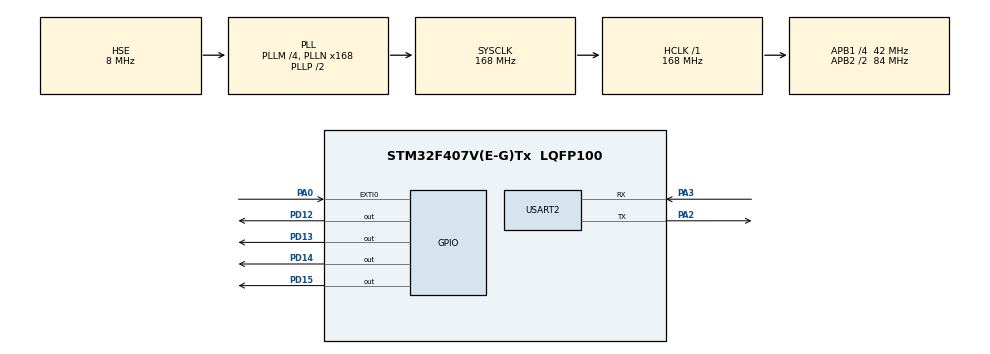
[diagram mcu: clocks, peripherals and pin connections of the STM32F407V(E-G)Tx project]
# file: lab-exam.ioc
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FREERTOS.INCLUDE_vTaskDelayUntil=1
FREERTOS.Tasks01=defaultTask,-3,128,StartDefaultTask,Default,NULL,Dynamic,NULL,NULL
FREERTOS.configUSE_NEWLIB_REENTRANT=1
Mcu.Family=STM32F4
Mcu.Name=STM32F407V(E-G)Tx
Mcu.Package=LQFP100
NVIC.EXTI0_IRQn=true\:5\:0\:false\:false\:true\:true\:true\:true\:true
NVIC.PriorityGroup=NVIC_PRIORITYGROUP_4
NVIC.TIM1_UP_TIM10_IRQn=true\:15\:0\:false\:false\:true\:false\:false\:true\:true
NVIC.TimeBase=TIM1_UP_TIM10_IRQn
NVIC.TimeBaseIP=TIM1
PA0-WKUP.GPIO_ModeDefaultEXTI=GPIO_MODE_IT_FALLING
PA0-WKUP.Signal=GPXTI0
PA2.Mode=Asynchronous
PA2.Signal=USART2_TX
PA3.Mode=Asynchronous
PA3.Signal=USART2_RX
PD12.Signal=GPIO_Output
PD13.Signal=GPIO_Output
PD14.Signal=GPIO_Output
PD15.Signal=GPIO_Output
PH0-OSC_IN.Mode=HSE-External-Oscillator
PH0-OSC_IN.Signal=RCC_OSC_IN
PH1-OSC_OUT.Mode=HSE-External-Oscillator
PH1-OSC_OUT.Signal=RCC_OSC_OUT
ProjectManager.HeapSize=0x200
ProjectManager.StackSize=0x400
ProjectManager.TargetToolchain=STM32CubeIDE
RCC.48MHZClocksFreq_Value=48000000
RCC.AHBFreq_Value=168000000
RCC.APB1CLKDivider=RCC_HCLK_DIV4
RCC.APB1Freq_Value=42000000
RCC.APB1TimFreq_Value=84000000
RCC.APB2CLKDivider=RCC_HCLK_DIV2
RCC.APB2Freq_Value=84000000
RCC.APB2TimFreq_Value=168000000
RCC.CortexFreq_Value=168000000
RCC.HCLKFreq_Value=168000000
RCC.HSE_VALUE=8000000
RCC.HSI_VALUE=16000000
RCC.LSE_VALUE=32768
RCC.PLLM=4
RCC.PLLN=168
RCC.PLLQ=7
RCC.PLLSourceVirtual=RCC_PLLSOURCE_HSE
RCC.SYSCLKFreq_VALUE=168000000
RCC.SYSCLKSource=RCC_SYSCLKSOURCE_PLLCLK
RCC.VCOOutputFreq_Value=336000000
RTC.Date=3
RTC.Hours=11
RTC.Minutes=59
RTC.Month=RTC_MONTH_AUGUST
RTC.Seconds=50
RTC.WeekDay=RTC_WEEKDAY_WEDNESDAY
USART2.VirtualMode=VM_ASYNC
VP_FREERTOS_VS_CMSIS_V1.Mode=CMSIS_V1
VP_RTC_VS_RTC_Activate.Mode=RTC_Enabled
VP_RTC_VS_RTC_Calendar.Mode=RTC_Calendar
VP_SYS_VS_tim1.Mode=TIM1
board=STM32F407G-DISC1

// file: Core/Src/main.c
/* USER CODE BEGIN Header */
/**
 ******************************************************************************
 * @file           : main.c
 * @brief          : Main program body
 ******************************************************************************
 * @attention
 *
 * Copyright (c) 2022 STMicroelectronics.
 * All rights reserved.
 *
 * This software is licensed under terms that can be found in the LICENSE file
 * in the root directory of this software component.
 * If no LICENSE file comes with this software, it is provided AS-IS.
 *
 ******************************************************************************
 */
/* USER CODE END Header */
#include "main.h"
#include "cmsis_os.h"

/* USER CODE BEGIN Includes */
#include<stdio.h>
/* USER CODE END Includes */

RTC_HandleTypeDef hrtc;

UART_HandleTypeDef huart2;

osThreadId defaultTaskHandle;
/* USER CODE BEGIN PV */
volatile SemaphoreHandle_t xSwitchSemaFlag;
/* USER CODE END PV */

void SystemClock_Config(void);
static void MX_GPIO_Init(void);
static void MX_RTC_Init(void);
static void MX_USART2_UART_Init(void);
void StartDefaultTask(void const * argument);

/* USER CODE BEGIN 0 */
void vLedBlinkAPeriodic(void *pvParam) {

	while(1) {
		vTaskDelay(200 / portTICK_RATE_MS);
		HAL_GPIO_TogglePin(GPIOD, GPIO_PIN_12);
		vTaskDelay(200 / portTICK_RATE_MS);
		HAL_GPIO_TogglePin(GPIOD, GPIO_PIN_13);
		vTaskDelay(200 / portTICK_RATE_MS);
		HAL_GPIO_TogglePin(GPIOD, GPIO_PIN_14);
		vTaskDelay(200 / portTICK_RATE_MS);
		HAL_GPIO_TogglePin(GPIOD, GPIO_PIN_15);

		vTaskDelay(200 / portTICK_RATE_MS);
		HAL_GPIO_TogglePin(GPIOD, GPIO_PIN_12);
		HAL_GPIO_TogglePin(GPIOD, GPIO_PIN_13);
		HAL_GPIO_TogglePin(GPIOD, GPIO_PIN_14);
		HAL_GPIO_TogglePin(GPIOD, GPIO_PIN_15);
	}
	vTaskDelete(NULL);
}

void HAL_GPIO_EXTI_Callback(uint16_t GPIO_Pin) {
	BaseType_t xHigherPriorityTaskWoken;
	// V(xSwitchSemaFlag);
	xSemaphoreGiveFromISR(xSwitchSemaFlag, &xHigherPriorityTaskWoken);
	// Invoke the scheduler
	portEND_SWITCHING_ISR(xHigherPriorityTaskWoken);
}

void vSwitchIntrHandler(void *pvParam) {
	// P(xSwitchSemaFlag);
	xSemaphoreTake(xSwitchSemaFlag, 0);
	uint8_t len;
	char data[50];

	RTC_DateTypeDef date;
	RTC_TimeTypeDef time;
	while(1) {
		// P(xSwitchSemaFlag);
		xSemaphoreTake(xSwitchSemaFlag, portMAX_DELAY);
		HAL_RTC_GetTime(&hrtc, &time, RTC_FORMAT_BIN);
		HAL_RTC_GetDate(&hrtc, &date, RTC_FORMAT_BIN);

		len = sprintf(data, "E3: Rohit Nimkar - %2d-%2d-%4d %2d:%2d:%2d\r\n", date.Date, date.Month,
				date.Year + 2022U, time.Hours, time.Minutes, time.Seconds);

		HAL_UART_Transmit(&huart2, (uint8_t *)data, len, HAL_MAX_DELAY);
	}
	vTaskDelete(NULL);
}
/* USER CODE END 0 */

int main(void)
{
  /* USER CODE BEGIN 1 */
	BaseType_t xRet;
  /* USER CODE END 1 */

  /* MCU Configuration--------------------------------------------------------*/

  /* Reset of all peripherals, Initializes the Flash interface and the Systick. */
  HAL_Init();

  /* Configure the system clock */
  SystemClock_Config();

  /* Initialize all configured peripherals */
  MX_GPIO_Init();
  MX_RTC_Init();
  MX_USART2_UART_Init();

  /* USER CODE BEGIN RTOS_SEMAPHORES */
  xSwitchSemaFlag = xSemaphoreCreateBinary();
  /* USER CODE END RTOS_SEMAPHORES */

  /* Create the thread(s) */
  /* definition and creation of defaultTask */
  osThreadDef(defaultTask, StartDefaultTask, osPriorityIdle, 0, 128);
  defaultTaskHandle = osThreadCreate(osThread(defaultTask), NULL);

  /* USER CODE BEGIN RTOS_THREADS */
  xRet = xTaskCreate(vLedBlinkAPeriodic, "blink", 128, NULL, 2, NULL);
  if(xRet != pdTRUE)
	  Error_Handler();

  xRet = xTaskCreate(vSwitchIntrHandler, "int_handle", 128, NULL, configMAX_PRIORITIES-1, NULL);
  if(xRet != pdTRUE)
	  Error_Handler();
  /* USER CODE END RTOS_THREADS */

  /* Start scheduler */
  osKernelStart();

  /* We should never get here as control is now taken by the scheduler */
  /* Infinite loop */
  /* USER CODE BEGIN WHILE */
  vSemaphoreDelete(xSwitchSemaFlag);
	while (1)
	{

    /* USER CODE END WHILE */

	}
}

void SystemClock_Config(void)
{
  RCC_OscInitTypeDef RCC_OscInitStruct = {0};
  RCC_ClkInitTypeDef RCC_ClkInitStruct = {0};

  /** Configure the main internal regulator output voltage
  */
  __HAL_RCC_PWR_CLK_ENABLE();
  __HAL_PWR_VOLTAGESCALING_CONFIG(PWR_REGULATOR_VOLTAGE_SCALE1);

  /** Initializes the RCC Oscillators according to the specified parameters
  * in the RCC_OscInitTypeDef structure.
  */
  RCC_OscInitStruct.OscillatorType = RCC_OSCILLATORTYPE_LSI|RCC_OSCILLATORTYPE_HSE;
  RCC_OscInitStruct.HSEState = RCC_HSE_ON;
  RCC_OscInitStruct.LSIState = RCC_LSI_ON;
  RCC_OscInitStruct.PLL.PLLState = RCC_PLL_ON;
  RCC_OscInitStruct.PLL.PLLSource = RCC_PLLSOURCE_HSE;
  RCC_OscInitStruct.PLL.PLLM = 4;
  RCC_OscInitStruct.PLL.PLLN = 168;
  RCC_OscInitStruct.PLL.PLLP = RCC_PLLP_DIV2;
  RCC_OscInitStruct.PLL.PLLQ = 7;
  if (HAL_RCC_OscConfig(&RCC_OscInitStruct) != HAL_OK)
  {
    Error_Handler();
  }

  /** Initializes the CPU, AHB and APB buses clocks
  */
  RCC_ClkInitStruct.ClockType = RCC_CLOCKTYPE_HCLK|RCC_CLOCKTYPE_SYSCLK
                              |RCC_CLOCKTYPE_PCLK1|RCC_CLOCKTYPE_PCLK2;
  RCC_ClkInitStruct.SYSCLKSource = RCC_SYSCLKSOURCE_PLLCLK;
  RCC_ClkInitStruct.AHBCLKDivider = RCC_SYSCLK_DIV1;
  RCC_ClkInitStruct.APB1CLKDivider = RCC_HCLK_DIV4;
  RCC_ClkInitStruct.APB2CLKDivider = RCC_HCLK_DIV2;

  if (HAL_RCC_ClockConfig(&RCC_ClkInitStruct, FLASH_LATENCY_5) != HAL_OK)
  {
    Error_Handler();
  }
}

static void MX_RTC_Init(void)
{

  RTC_TimeTypeDef sTime = {0};
  RTC_DateTypeDef sDate = {0};

  /** Initialize RTC Only
  */
  hrtc.Instance = RTC;
  hrtc.Init.HourFormat = RTC_HOURFORMAT_24;
  hrtc.Init.AsynchPrediv = 127;
  hrtc.Init.SynchPrediv = 255;
  hrtc.Init.OutPut = RTC_OUTPUT_DISABLE;
  hrtc.Init.OutPutPolarity = RTC_OUTPUT_POLARITY_HIGH;
  hrtc.Init.OutPutType = RTC_OUTPUT_TYPE_OPENDRAIN;
  if (HAL_RTC_Init(&hrtc) != HAL_OK)
  {
    Error_Handler();
  }

  /** Initialize RTC and set the Time and Date
  */
  sTime.Hours = 0x11;
  sTime.Minutes = 0x59;
  sTime.Seconds = 0x50;
  sTime.DayLightSaving = RTC_DAYLIGHTSAVING_NONE;
  sTime.StoreOperation = RTC_STOREOPERATION_RESET;
  if (HAL_RTC_SetTime(&hrtc, &sTime, RTC_FORMAT_BCD) != HAL_OK)
  {
    Error_Handler();
  }
  sDate.WeekDay = RTC_WEEKDAY_WEDNESDAY;
  sDate.Month = RTC_MONTH_AUGUST;
  sDate.Date = 0x3;
  sDate.Year = 0x0;

  if (HAL_RTC_SetDate(&hrtc, &sDate, RTC_FORMAT_BCD) != HAL_OK)
  {
    Error_Handler();
  }

}

static void MX_USART2_UART_Init(void)
{

  huart2.Instance = USART2;
  huart2.Init.BaudRate = 115200;
  huart2.Init.WordLength = UART_WORDLENGTH_8B;
  huart2.Init.StopBits = UART_STOPBITS_1;
  huart2.Init.Parity = UART_PARITY_NONE;
  huart2.Init.Mode = UART_MODE_TX_RX;
  huart2.Init.HwFlowCtl = UART_HWCONTROL_NONE;
  huart2.Init.OverSampling = UART_OVERSAMPLING_16;
  if (HAL_UART_Init(&huart2) != HAL_OK)
  {
    Error_Handler();
  }

}

static void MX_GPIO_Init(void)
{
  GPIO_InitTypeDef GPIO_InitStruct = {0};

  /* GPIO Ports Clock Enable */
  __HAL_RCC_GPIOH_CLK_ENABLE();
  __HAL_RCC_GPIOA_CLK_ENABLE();
  __HAL_RCC_GPIOD_CLK_ENABLE();

  /*Configure GPIO pin Output Level */
  HAL_GPIO_WritePin(GPIOD, GPIO_PIN_12|GPIO_PIN_13|GPIO_PIN_14|GPIO_PIN_15, GPIO_PIN_RESET);

  /*Configure GPIO pin : PA0 */
  GPIO_InitStruct.Pin = GPIO_PIN_0;
  GPIO_InitStruct.Mode = GPIO_MODE_IT_FALLING;
  GPIO_InitStruct.Pull = GPIO_NOPULL;
  HAL_GPIO_Init(GPIOA, &GPIO_InitStruct);

  /*Configure GPIO pins : PD12 PD13 PD14 PD15 */
  GPIO_InitStruct.Pin = GPIO_PIN_12|GPIO_PIN_13|GPIO_PIN_14|GPIO_PIN_15;
  GPIO_InitStruct.Mode = GPIO_MODE_OUTPUT_PP;
  GPIO_InitStruct.Pull = GPIO_NOPULL;
  GPIO_InitStruct.Speed = GPIO_SPEED_FREQ_LOW;
  HAL_GPIO_Init(GPIOD, &GPIO_InitStruct);

  /* EXTI interrupt init*/
  HAL_NVIC_SetPriority(EXTI0_IRQn, 5, 0);
  HAL_NVIC_EnableIRQ(EXTI0_IRQn);

}

void StartDefaultTask(void const * argument)
{
  for(;;)
  {
    osDelay(1);
  }
}

void HAL_TIM_PeriodElapsedCallback(TIM_HandleTypeDef *htim)
{
  if (htim->Instance == TIM1) {
    HAL_IncTick();
  }
}

void Error_Handler(void)
{
	__disable_irq();
	while (1)
	{
	}
}
